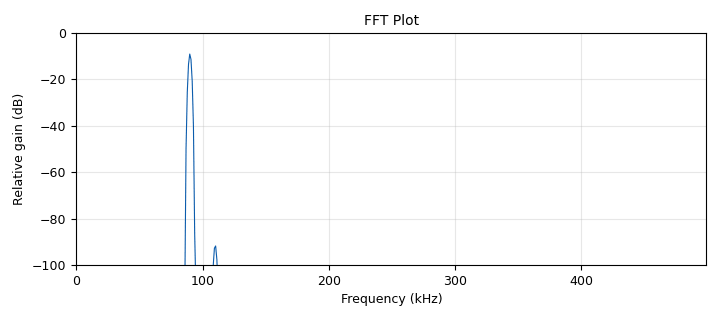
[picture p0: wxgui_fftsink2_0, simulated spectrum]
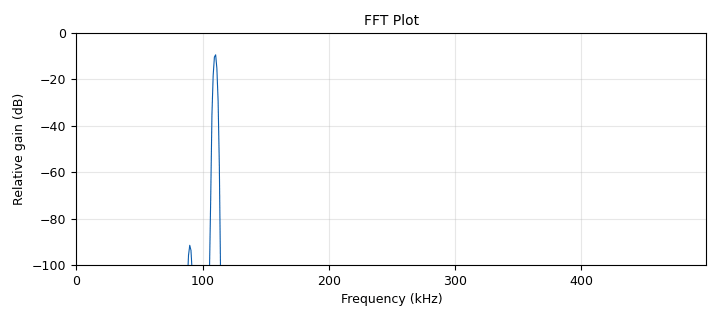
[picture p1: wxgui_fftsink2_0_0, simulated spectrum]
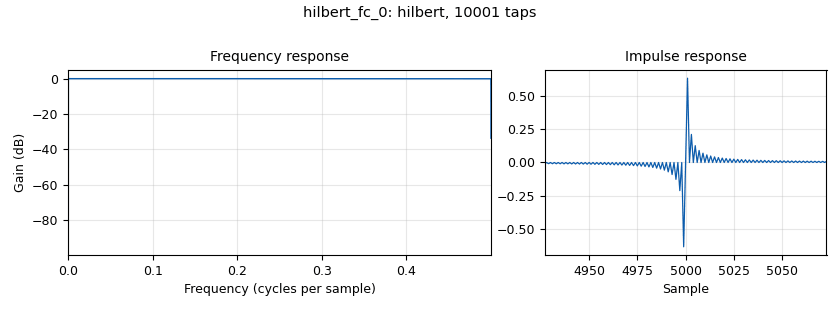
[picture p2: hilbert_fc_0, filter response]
<?xml version='1.0' encoding='utf-8'?>
<?grc format='1' created='3.7.9'?>
<flow_graph>
<block>
<key>options</key>
<param><key>id</key><value>top_block</value></param>
<param><key>category</key><value>Custom</value></param>
<param><key>generate_options</key><value>wx_gui</value></param>
</block>
<block>
<key>variable</key>
<param><key>id</key><value>samp_rate</value></param>
<param><key>value</key><value>1e6</value></param>
</block>
<block>
<key>analog_sig_source_x</key>
<param><key>id</key><value>analog_sig_source_x_0</value></param>
<param><key>amp</key><value>1</value></param>
<param><key>freq</key><value>10e3</value></param>
<param><key>offset</key><value>0</value></param>
<param><key>type</key><value>float</value></param>
<param><key>samp_rate</key><value>samp_rate</value></param>
<param><key>waveform</key><value>analog.GR_COS_WAVE</value></param>
</block>
<block>
<key>analog_sig_source_x</key>
<param><key>id</key><value>analog_sig_source_x_0_0</value></param>
<param><key>amp</key><value>1</value></param>
<param><key>freq</key><value>100e3</value></param>
<param><key>offset</key><value>0</value></param>
<param><key>type</key><value>float</value></param>
<param><key>samp_rate</key><value>samp_rate</value></param>
<param><key>waveform</key><value>analog.GR_COS_WAVE</value></param>
</block>
<block>
<key>blocks_add_xx</key>
<param><key>id</key><value>blocks_add_xx_0</value></param>
<param><key>type</key><value>float</value></param>
</block>
<block>
<key>blocks_complex_to_float</key>
<param><key>id</key><value>blocks_complex_to_float_0</value></param>
</block>
<block>
<key>blocks_complex_to_float</key>
<param><key>id</key><value>blocks_complex_to_float_0_1</value></param>
</block>
<block>
<key>blocks_multiply_xx</key>
<param><key>id</key><value>blocks_multiply_xx_0</value></param>
<param><key>type</key><value>float</value></param>
</block>
<block>
<key>blocks_multiply_xx</key>
<param><key>id</key><value>blocks_multiply_xx_0_0</value></param>
<param><key>type</key><value>float</value></param>
</block>
<block>
<key>blocks_sub_xx</key>
<param><key>id</key><value>blocks_sub_xx_0</value></param>
<param><key>type</key><value>float</value></param>
</block>
<block>
<key>blocks_throttle</key>
<param><key>id</key><value>blocks_throttle_0</value></param>
<param><key>samples_per_second</key><value>samp_rate</value></param>
<param><key>type</key><value>float</value></param>
</block>
<block>
<key>hilbert_fc</key>
<param><key>id</key><value>hilbert_fc_0</value></param>
<param><key>num_taps</key><value>10000</value></param>
<param><key>win</key><value>firdes.WIN_HAMMING</value></param>
</block>
<block>
<key>hilbert_fc</key>
<param><key>id</key><value>hilbert_fc_0_0</value></param>
<param><key>num_taps</key><value>5000*2</value></param>
<param><key>win</key><value>firdes.WIN_HAMMING</value></param>
</block>
<block>
<key>wxgui_fftsink2</key>
<param><key>id</key><value>wxgui_fftsink2_0</value></param>
<param><key>avg_alpha</key><value>0</value></param>
<param><key>average</key><value>False</value></param>
<param><key>baseband_freq</key><value>0</value></param>
<param><key>fft_size</key><value>1024</value></param>
<param><key>freqvar</key><value>None</value></param>
<param><key>peak_hold</key><value>False</value></param>
<param><key>ref_level</key><value>0</value></param>
<param><key>ref_scale</key><value>2.0</value></param>
<param><key>fft_rate</key><value>15</value></param>
<param><key>samp_rate</key><value>samp_rate</value></param>
<param><key>title</key><value>FFT Plot</value></param>
<param><key>type</key><value>float</value></param>
<param><key>win</key><value>None</value></param>
<param><key>y_divs</key><value>10</value></param>
<param><key>y_per_div</key><value>10</value></param>
</block>
<block>
<key>wxgui_fftsink2</key>
<param><key>id</key><value>wxgui_fftsink2_0_0</value></param>
<param><key>avg_alpha</key><value>0</value></param>
<param><key>average</key><value>False</value></param>
<param><key>baseband_freq</key><value>0</value></param>
<param><key>fft_size</key><value>1024</value></param>
<param><key>freqvar</key><value>None</value></param>
<param><key>peak_hold</key><value>False</value></param>
<param><key>ref_level</key><value>0</value></param>
<param><key>ref_scale</key><value>2.0</value></param>
<param><key>fft_rate</key><value>15</value></param>
<param><key>samp_rate</key><value>samp_rate</value></param>
<param><key>title</key><value>FFT Plot</value></param>
<param><key>type</key><value>float</value></param>
<param><key>win</key><value>None</value></param>
<param><key>y_divs</key><value>10</value></param>
<param><key>y_per_div</key><value>10</value></param>
</block>
<connection><source_block_id>analog_sig_source_x_0</source_block_id><sink_block_id>blocks_throttle_0</sink_block_id><source_key>0</source_key><sink_key>0</sink_key></connection>
<connection><source_block_id>analog_sig_source_x_0_0</source_block_id><sink_block_id>hilbert_fc_0_0</sink_block_id><source_key>0</source_key><sink_key>0</sink_key></connection>
<connection><source_block_id>blocks_add_xx_0</source_block_id><sink_block_id>wxgui_fftsink2_0</sink_block_id><source_key>0</source_key><sink_key>0</sink_key></connection>
<connection><source_block_id>blocks_complex_to_float_0</source_block_id><sink_block_id>blocks_multiply_xx_0</sink_block_id><source_key>1</source_key><sink_key>0</sink_key></connection>
<connection><source_block_id>blocks_complex_to_float_0</source_block_id><sink_block_id>blocks_multiply_xx_0_0</sink_block_id><source_key>0</source_key><sink_key>0</sink_key></connection>
<connection><source_block_id>blocks_complex_to_float_0_1</source_block_id><sink_block_id>blocks_multiply_xx_0</sink_block_id><source_key>1</source_key><sink_key>1</sink_key></connection>
<connection><source_block_id>blocks_complex_to_float_0_1</source_block_id><sink_block_id>blocks_multiply_xx_0_0</sink_block_id><source_key>0</source_key><sink_key>1</sink_key></connection>
<connection><source_block_id>blocks_multiply_xx_0</source_block_id><sink_block_id>blocks_add_xx_0</sink_block_id><source_key>0</source_key><sink_key>1</sink_key></connection>
<connection><source_block_id>blocks_multiply_xx_0</source_block_id><sink_block_id>blocks_sub_xx_0</sink_block_id><source_key>0</source_key><sink_key>1</sink_key></connection>
<connection><source_block_id>blocks_multiply_xx_0_0</source_block_id><sink_block_id>blocks_add_xx_0</sink_block_id><source_key>0</source_key><sink_key>0</sink_key></connection>
<connection><source_block_id>blocks_multiply_xx_0_0</source_block_id><sink_block_id>blocks_sub_xx_0</sink_block_id><source_key>0</source_key><sink_key>0</sink_key></connection>
<connection><source_block_id>blocks_sub_xx_0</source_block_id><sink_block_id>wxgui_fftsink2_0_0</sink_block_id><source_key>0</source_key><sink_key>0</sink_key></connection>
<connection><source_block_id>blocks_throttle_0</source_block_id><sink_block_id>hilbert_fc_0</sink_block_id><source_key>0</source_key><sink_key>0</sink_key></connection>
<connection><source_block_id>hilbert_fc_0</source_block_id><sink_block_id>blocks_complex_to_float_0</sink_block_id><source_key>0</source_key><sink_key>0</sink_key></connection>
<connection><source_block_id>hilbert_fc_0_0</source_block_id><sink_block_id>blocks_complex_to_float_0_1</sink_block_id><source_key>0</source_key><sink_key>0</sink_key></connection>
</flow_graph>
